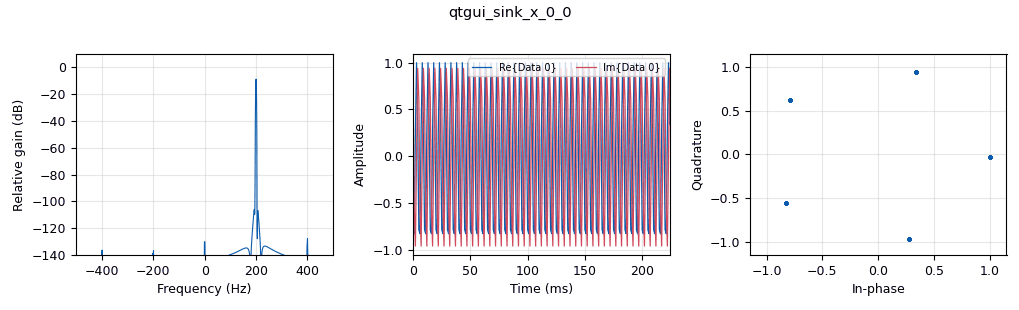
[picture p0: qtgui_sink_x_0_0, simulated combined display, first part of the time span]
<?xml version='1.0' encoding='utf-8'?>
<?grc format='1' created='3.7.7'?>
<flow_graph>
<block>
<key>options</key>
<param><key>id</key><value>top_block</value></param>
<param><key>generate_options</key><value>qt_gui</value></param>
<param><key>category</key><value>Custom</value></param>
</block>
<block>
<key>variable</key>
<param><key>id</key><value>samp_rate</value></param>
<param><key>value</key><value>32000</value></param>
</block>
<block>
<key>analog_sig_source_x</key>
<param><key>id</key><value>analog_sig_source_x_0</value></param>
<param><key>type</key><value>complex</value></param>
<param><key>samp_rate</key><value>samp_rate</value></param>
<param><key>waveform</key><value>analog.GR_COS_WAVE</value></param>
<param><key>freq</key><value>freq</value></param>
<param><key>amp</key><value>1</value></param>
<param><key>offset</key><value>0</value></param>
</block>
<block>
<key>blocks_keep_one_in_n</key>
<param><key>id</key><value>blocks_keep_one_in_n_0</value></param>
<param><key>type</key><value>complex</value></param>
<param><key>n</key><value>32</value></param>
</block>
<block>
<key>qtgui_sink_x</key>
<param><key>id</key><value>qtgui_sink_x_0_0</value></param>
<param><key>type</key><value>complex</value></param>
<param><key>fftsize</key><value>1024</value></param>
<param><key>wintype</key><value>firdes.WIN_BLACKMAN_hARRIS</value></param>
<param><key>fc</key><value>0</value></param>
<param><key>bw</key><value>samp_rate/32</value></param>
<param><key>freqchangevar</key><value>None</value></param>
<param><key>showports</key><value>True</value></param>
</block>
<block>
<key>variable_qtgui_range</key>
<param><key>id</key><value>freq</value></param>
<param><key>value</key><value>200</value></param>
<param><key>start</key><value>0</value></param>
<param><key>stop</key><value>2e3</value></param>
<param><key>step</key><value>100</value></param>
<param><key>orient</key><value>Qt.Horizontal</value></param>
</block>
<connection><source_block_id>analog_sig_source_x_0</source_block_id><sink_block_id>blocks_keep_one_in_n_0</sink_block_id><source_key>0</source_key><sink_key>0</sink_key></connection>
<connection><source_block_id>blocks_keep_one_in_n_0</source_block_id><sink_block_id>qtgui_sink_x_0_0</sink_block_id><source_key>0</source_key><sink_key>0</sink_key></connection>
</flow_graph>
